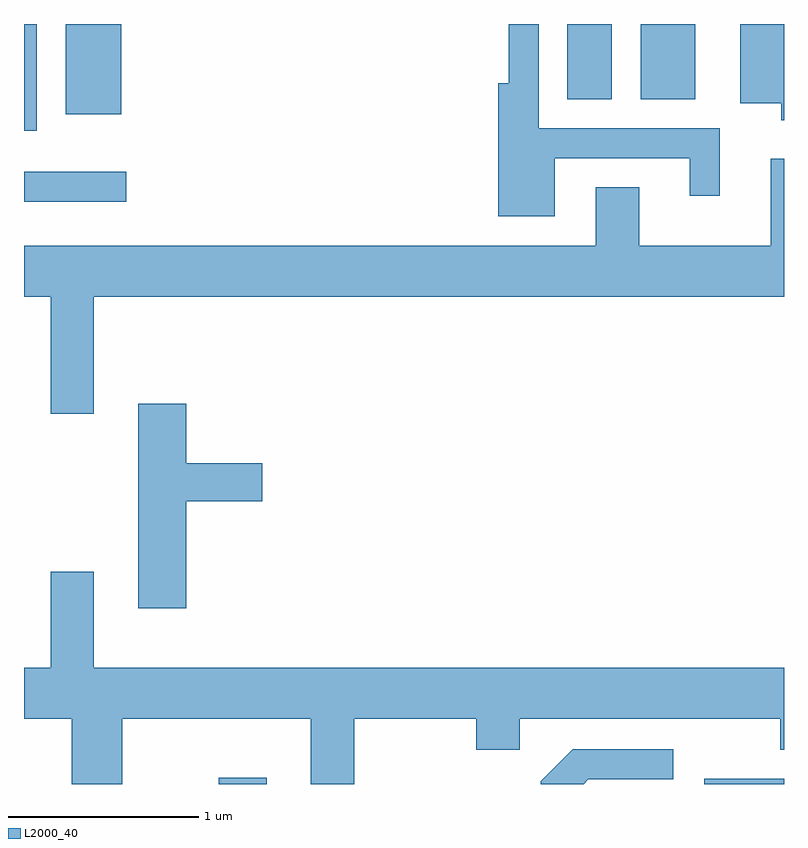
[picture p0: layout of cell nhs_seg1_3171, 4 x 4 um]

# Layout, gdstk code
import gdstk
lib = gdstk.Library(unit=1e-6, precision=1e-09)
def R(c, l, rs):  # rectangles x0, y0, x1, y1
    for r in rs: c.add(gdstk.rectangle(r[:2], r[2:], *l))
def P(c, l, *ps):  # polygons
    for p in ps: c.add(gdstk.Polygon(p, *l))
L2000_40 = (2000, 40)

nhs_seg1_3171 = lib.new_cell('nhs_seg1_3171')
R(nhs_seg1_3171, L2000_40, [(282.636,863.712,282.889,863.744), (285.191,863.712,285.611,863.739), (281.611,866.776,282.148,866.934), (281.611,867.151,281.679,867.712), (281.831,867.236,282.124,867.712), (284.471,867.316,284.704,867.712), (284.856,867.316,285.144,867.712)])
P(nhs_seg1_3171, L2000_40, [(284.404,867.006),(285.116,867.006),(285.116,866.808),(285.274,866.808),(285.274,867.164),(284.319,867.164),(284.319,867.712),(284.161,867.712),(284.161,867.399),(284.106,867.399),(284.106,866.701),(284.404,866.701)],
  [(285.611,867.712),(285.381,867.712),(285.381,867.296),(285.596,867.296),(285.596,867.206),(285.611,867.206)],
  [(285.611,867.004),(285.541,867.004),(285.541,866.544),(284.849,866.544),(284.849,866.854),(284.621,866.854),(284.621,866.544),(281.611,866.544),(281.611,866.276),(281.751,866.276),(281.751,865.661),(281.979,865.661),(281.979,866.276),(285.611,866.276)],
  [(282.464,865.201),(282.864,865.201),(282.864,865.399),(282.464,865.399),(282.464,865.714),(282.211,865.714),(282.211,864.636),(282.464,864.636)],
  [(282.129,864.056),(283.121,864.056),(283.121,863.712),(283.349,863.712),(283.349,864.056),(283.991,864.056),(283.991,863.891),(284.219,863.891),(284.219,864.056),(285.591,864.056),(285.591,863.891),(285.611,863.891),(285.611,864.324),(281.979,864.324),(281.979,864.829),(281.751,864.829),(281.751,864.324),(281.611,864.324),(281.611,864.056),(281.861,864.056),(281.861,863.712),(282.129,863.712)],
  [(284.582,863.736),(285.028,863.736),(285.028,863.894),(284.499,863.894),(284.331,863.727),(284.331,863.712),(284.558,863.712)])

lib.write_gds('nhs_seg1_3171.gds')
